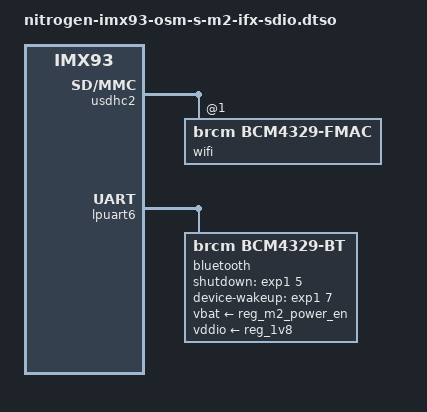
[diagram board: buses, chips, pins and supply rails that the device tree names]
// SPDX-License-Identifier: (GPL-2.0+ OR MIT)
/*
 * M.2 SDIO Infineon Wi-Fi/BT
 *
 * Copyright 2026 Ezurio LLC
 */

/dts-v1/;
/plugin/;

#include "nitrogen-imx93-osm-s-m2-sdio.dtsi"

&usdhc2 {
	wifi@1 {
		reg = <1>;
		compatible = "brcm,bcm4329-fmac";
	};
};

&lpuart6 {
	bluetooth {
		compatible = "brcm,bcm4329-bt";
		vbat-supply = <&reg_m2_power_en>;
		vddio-supply = <&reg_1v8>;
		brcm,requires-autobaud-mode;
		max-speed = <3000000>;
		shutdown-gpios = <&exp1 5 GPIO_ACTIVE_HIGH>;
		device-wakeup-gpios = <&exp1 7 GPIO_ACTIVE_HIGH>;
	};
};
